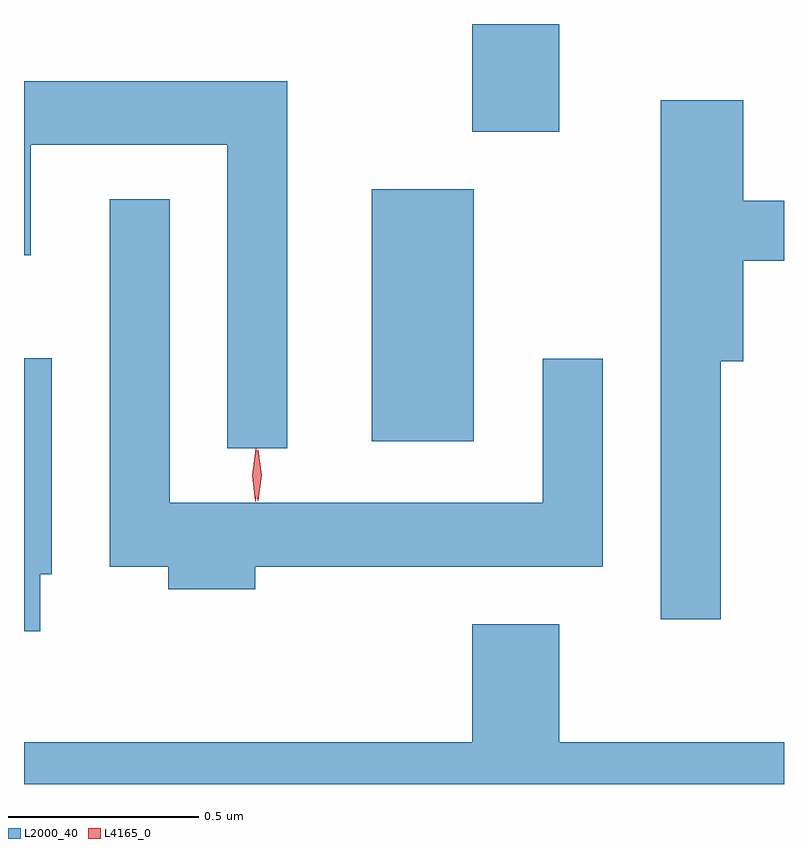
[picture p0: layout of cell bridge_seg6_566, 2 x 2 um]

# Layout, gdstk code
import gdstk
lib = gdstk.Library(unit=1e-6, precision=1e-09)
def R(c, l, rs):  # rectangles x0, y0, x1, y1
    for r in rs: c.add(gdstk.rectangle(r[:2], r[2:], *l))
def P(c, l, *ps):  # polygons
    for p in ps: c.add(gdstk.Polygon(p, *l))
L2000_40 = (2000, 40)
L4165_0 = (4165, 0)

bridge_seg6_566 = lib.new_cell('bridge_seg6_566')
R(bridge_seg6_566, L2000_40, [(440.216,1664.316,440.484,1664.979), (440.481,1665.131,440.709,1665.414)])
P(bridge_seg6_566, L2000_40, [(439.994,1665.264),(439.301,1665.264),(439.301,1664.806),(439.319,1664.806),(439.319,1665.096),(439.836,1665.096),(439.836,1664.298),(439.994,1664.298)],
  [(441.134,1664.526),(441.194,1664.526),(441.194,1664.791),(441.301,1664.791),(441.301,1664.949),(441.194,1664.949),(441.194,1665.214),(440.976,1665.214),(440.976,1663.848),(441.134,1663.848)],
  [(439.909,1663.986),(440.824,1663.986),(440.824,1664.533),(440.666,1664.533),(440.666,1664.154),(439.684,1664.154),(439.684,1664.953),(439.526,1664.953),(439.526,1663.986),(439.681,1663.986),(439.681,1663.926),(439.909,1663.926)],
  [(439.344,1663.966),(439.374,1663.966),(439.374,1664.534),(439.301,1664.534),(439.301,1663.816),(439.344,1663.816)],
  [(441.301,1663.524),(440.709,1663.524),(440.709,1663.834),(440.481,1663.834),(440.481,1663.524),(439.301,1663.524),(439.301,1663.414),(441.301,1663.414)])
P(bridge_seg6_566, L4165_0, [(439.911,1664.157),(439.91,1664.158),(439.901,1664.227),(439.911,1664.296),(439.911,1664.296),(439.912,1664.296),(439.921,1664.227),(439.911,1664.158)],
  [(439.917,1664.159),(439.916,1664.16),(439.907,1664.226),(439.916,1664.293),(439.917,1664.293),(439.917,1664.293),(439.927,1664.226),(439.917,1664.16)])

lib.write_gds('bridge_seg6_566.gds')
